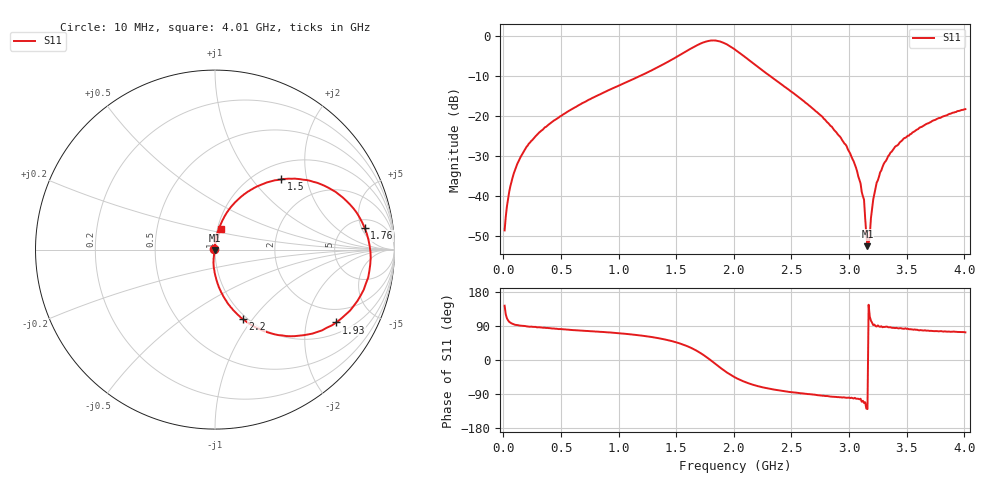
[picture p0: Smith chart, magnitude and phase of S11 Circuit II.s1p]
! TTR506A,Tektronix,B010426,Application version 2.0.1.4ead5a2e Firmware version 066185400
! Freq ReS11 ImS11
# HZ S RI R 50
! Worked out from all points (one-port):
!   401 points, 10 MHz to 4.01 GHz, reference 50 ohm
!   lowest |S11| = -52.5 dB at 3.16 GHz (marker M1), VSWR 1.00, Z = 49.8 - j0.183 ohm
!   |S11| at or under -10 dB: start of sweep to 1.19 GHz; 2.31 GHz to end of sweep
!   S11 on the Smith chart (normalised r, x): 10 MHz: 0.99, +0.00; 1.5 GHz: 1.29, +1.42; 1.76 GHz: 6.90, +5.72; 1.93 GHz: 1.40, -3.01; 2.2 GHz: 0.96, -0.89; 4.01 GHz: 1.04, +0.25
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1e7  -0.00299 0.00223
7e7  -0.00175 0.0151
1.5e8  -0.000316 0.0309
3e8  0.00385 0.0596
5.1e8  0.0155 0.101
1.01e9  0.0801 0.2272
1.3e9  0.1895 0.3261
1.5e9  0.3703 0.3913
1.51e9  0.3838 0.3935
1.65e9  0.6305 0.3454
1.76e9  0.8339 0.1202
1.84e9  0.8536 -0.1553
1.93e9  0.6761 -0.4057
2.01e9  0.4656 -0.4799
2.2e9  0.1538 -0.3858
2.51e9  0.0164 -0.1945
2.84e9  -0.00863 -0.0743
3.01e9  -0.0062 -0.0334
3.06e9  -0.00475 -0.0222
3.11e9  -0.00388 -0.0106
3.16e9  -0.00151 -0.00183
3.18e9  -0.00132 0.00291
3.21e9  -0.000333 0.00907
3.23e9  0.000128 0.0126
3.29e9  0.0014 0.0229
3.38e9  0.00337 0.0374
3.51e9  0.00731 0.056
4.01e9  0.0355 0.1158
